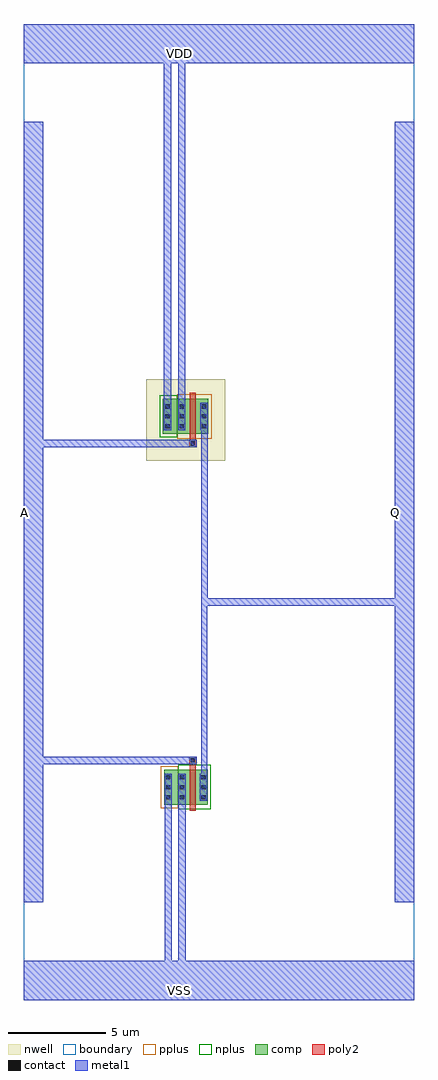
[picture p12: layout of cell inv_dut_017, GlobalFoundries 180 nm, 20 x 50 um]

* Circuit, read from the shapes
.subckt inv_dut_017 A Q VDD VSS
XM1 Q A VSS VSS nfet_03v3 w=1.8u l=0.3u
XM2 Q A VDD VDD pfet_03v3 w=1.8u l=0.3u
.ends

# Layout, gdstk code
import gdstk
lib = gdstk.Library(unit=1e-6, precision=1e-09)
def R(c, l, rs):  # rectangles x0, y0, x1, y1
    for r in rs: c.add(gdstk.rectangle(r[:2], r[2:], *l))
def A(c, l, x, y, w, h, nx, ny, dx, dy):  # array of equal rectangles
    R(c, l, [(x+i*dx, y+j*dy, x+i*dx+w, y+j*dy+h) for i in range(nx) for j in range(ny)])
def P(c, l, *ps):  # polygons
    for p in ps: c.add(gdstk.Polygon(p, *l))
boundary = (0, 0)
nwell = (21, 0)
comp = (22, 0)
poly2 = (30, 0)
pplus = (31, 0)
nplus = (32, 0)
contact = (33, 0)
metal1 = (34, 0)

inv_dut_017 = lib.new_cell('inv_dut_017')
R(inv_dut_017, boundary, [(-10,-25,10,25)])
R(inv_dut_017, nwell, [(-3.73,2.63,0.32,6.79)])
R(inv_dut_017, comp, [(-2.81,-15,-0.58,-13.2), (-2.87,4,-0.54,5.8)])
P(inv_dut_017, poly2, [(-1.53,3.32),(-1.53,3.7),(-1.49,3.7),(-1.49,6.1),(-1.19,6.1),(-1.19,3.7),(-1.15,3.7),(-1.15,3.32)],
  [(-1.49,-15.3),(-1.49,-12.9),(-1.52,-12.9),(-1.52,-12.54),(-1.16,-12.54),(-1.16,-12.9),(-1.19,-12.9),(-1.19,-15.3)])
R(inv_dut_017, pplus, [(-2.98,-15.17,-2.1,-13.03), (-2.14,3.76,-0.37,6.04)])
R(inv_dut_017, nplus, [(-2.1,-15.24,-0.41,-12.96), (-3.04,3.83,-2.14,5.97)])
A(inv_dut_017, contact, -2.71, -14.72, 0.22, 0.22, 1, 3, 0, 0.51)
A(inv_dut_017, contact, -2, -14.72, 0.22, 0.22, 1, 3, 0, 0.51)
A(inv_dut_017, contact, -0.9, -14.72, 0.22, 0.22, 1, 3, 0, 0.51)
A(inv_dut_017, contact, -2.75, 4.28, 0.22, 0.22, 1, 3, 0, 0.51)
A(inv_dut_017, contact, -2.02, 4.28, 0.22, 0.22, 1, 3, 0, 0.51)
A(inv_dut_017, contact, -0.88, 4.28, 0.22, 0.22, 1, 3, 0, 0.51)
R(inv_dut_017, contact, [(-1.45,-12.83,-1.23,-12.61), (-1.45,3.4,-1.23,3.62)])
P(inv_dut_017, metal1, [(-10,-25),(-10,-23),(-2.79,-23),(-2.79,-13.4),(-2.41,-13.4),(-2.41,-23),(-2.08,-23),(-2.08,-13.4),(-1.7,-13.4),(-1.7,-23),(10,-23),(10,-25)],
  [(-10,-20),(-10,20),(-9,20),(-9,3.7),(-1.15,3.7),(-1.15,3.32),(-9,3.32),(-9,-12.53),(-1.15,-12.53),(-1.15,-12.91),(-9,-12.91),(-9,-20)],
  [(9,-20),(9,-4.795),(-0.6,-4.795),(-0.6,-14.8),(-0.98,-14.8),(-0.98,-13.4),(-0.9,-13.4),(-0.9,4.2),(-0.96,4.2),(-0.96,5.6),(-0.58,5.6),(-0.58,-4.415),(9,-4.415),(9,20),(10,20),(10,-20)],
  [(-2.83,4.2),(-2.83,23),(-10,23),(-10,25),(10,25),(10,23),(-1.72,23),(-1.72,4.2),(-2.1,4.2),(-2.1,23),(-2.45,23),(-2.45,4.2)])
inv_dut_017.add(gdstk.Label('VDD', (-2,23.5), layer=34, texttype=10))
inv_dut_017.add(gdstk.Label('VSS', (-2,-24.5), layer=34, texttype=10))
inv_dut_017.add(gdstk.Label('A', (-9.97,0), layer=34, texttype=10))
inv_dut_017.add(gdstk.Label('Q', (9.03,0), layer=34, texttype=10))

lib.write_gds('inv_dut_017.gds')
